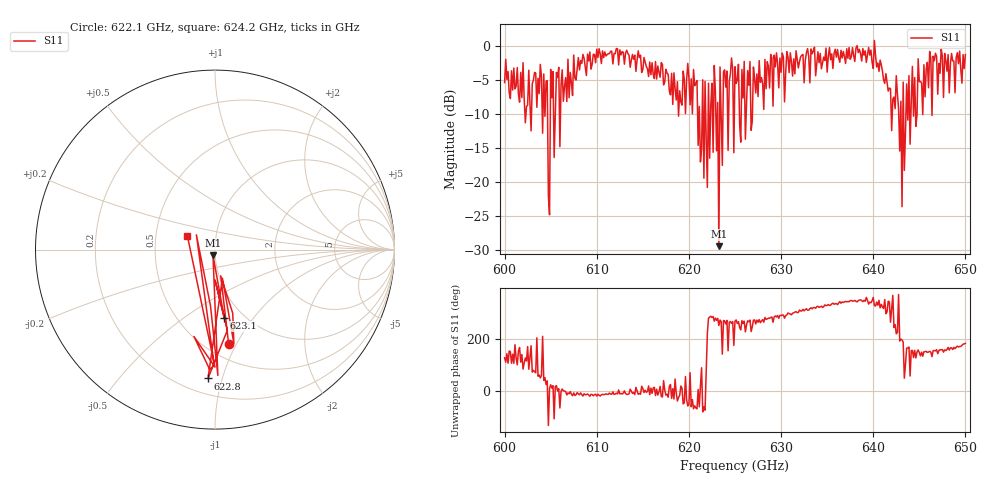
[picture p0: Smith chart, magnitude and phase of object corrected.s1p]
!Created with skrf (http://scikit-rf.org).
# GHz S MA R 50.0
!freq magS11 angS11
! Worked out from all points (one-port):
!   401 points, 600 GHz to 650 GHz, reference 50 ohm
!   lowest |S11| = -29.5 dB at 623.2 GHz (marker M1), VSWR 1.07, Z = 48.8 - j3.1 ohm
!   |S11| at or under -10 dB: 604.6611 GHz to 604.9617 GHz (300.6 MHz wide, 0.0497 % of centre); 605.3116 GHz to 605.5083 GHz (196.6 MHz wide, 0.0325 % of centre); 621.142 GHz to 621.4385 GHz (296.5 MHz wide, 0.0477 % of centre) (the widest 3 of 32)
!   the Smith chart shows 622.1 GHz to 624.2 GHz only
!   S11 on the Smith chart (normalised r, x): 622.1 GHz: 0.63, -0.93; 622.8 GHz: 0.30, -0.90; 623.1 GHz: 0.82, -0.73; 624.2 GHz: 0.73, +0.11
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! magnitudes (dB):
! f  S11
! 600 GHz  -5.4
! 602.6 GHz  -3.6
! 603.8 GHz  -7.0
! 604.4 GHz  -10.4
! 604.6 GHz  -5.1
! 605.2 GHz  -3.8
! 606.2 GHz  -3.5
! 608.2 GHz  -2.1
! 612.5 GHz  -0.6
! 618.8 GHz  -5.3
! 620.6 GHz  -5.8
! 621.1 GHz  -8.9
! 622.1 GHz  -5.5
! 622.8 GHz  -2.9
! 623.1 GHz  -8.3
! 623.2 GHz  -29.5
! 623.5 GHz  -10.0
! 623.6 GHz  -17.6
! 624.2 GHz  -15.4
! 625 GHz  -3.0
! 631.2 GHz  -4.4
! 637.5 GHz  -1.9
! 640.4 GHz  -3.1
! 642.5 GHz  -4.4
! 643.1 GHz  -23.7
! 643.8 GHz  -10.9
! 646 GHz  -6.1
! 650 GHz  -1.3
